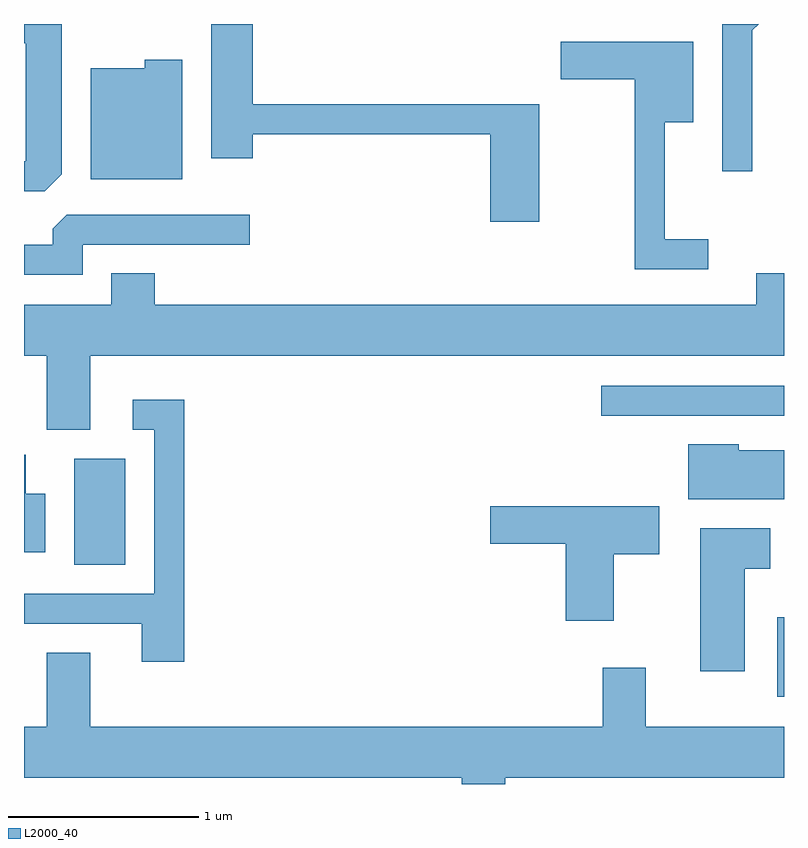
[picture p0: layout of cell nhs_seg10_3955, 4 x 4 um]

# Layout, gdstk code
import gdstk
lib = gdstk.Library(unit=1e-6, precision=1e-09)
def R(c, l, rs):  # rectangles x0, y0, x1, y1
    for r in rs: c.add(gdstk.rectangle(r[:2], r[2:], *l))
def P(c, l, *ps):  # polygons
    for p in ps: c.add(gdstk.Polygon(p, *l))
L2000_40 = (2000, 40)

nhs_seg10_3955 = lib.new_cell('nhs_seg10_3955')
R(nhs_seg10_3955, L2000_40, [(305.576,2140.981,305.611,2141.399), (301.876,2141.676,302.144,2142.234), (304.648,2142.461,305.611,2142.619)])
P(nhs_seg10_3955, L2000_40, [(304.324,2144.099),(302.814,2144.099),(302.814,2144.522),(302.596,2144.522),(302.596,2143.816),(302.814,2143.816),(302.814,2143.941),(304.066,2143.941),(304.066,2143.481),(304.324,2143.481)],
  [(305.444,2144.489),(305.477,2144.522),(305.286,2144.522),(305.286,2143.748),(305.444,2143.748)],
  [(301.809,2143.732),(301.809,2144.522),(301.611,2144.522),(301.611,2144.421),(301.621,2144.421),(301.621,2143.799),(301.611,2143.799),(301.611,2143.641),(301.719,2143.641)],
  [(305.213,2143.389),(304.984,2143.389),(304.984,2144.006),(305.134,2144.006),(305.134,2144.429),(304.436,2144.429),(304.436,2144.231),(304.826,2144.231),(304.826,2143.231),(305.213,2143.231)],
  [(302.444,2144.334),(302.246,2144.334),(302.246,2144.289),(301.961,2144.289),(301.961,2143.706),(302.444,2143.706)],
  [(301.919,2143.361),(302.798,2143.361),(302.798,2143.519),(301.837,2143.519),(301.761,2143.444),(301.761,2143.359),(301.611,2143.359),(301.611,2143.201),(301.919,2143.201)],
  [(301.959,2142.776),(305.611,2142.776),(305.611,2143.209),(305.466,2143.209),(305.466,2143.044),(302.299,2143.044),(302.299,2143.209),(302.071,2143.209),(302.071,2143.044),(301.611,2143.044),(301.611,2142.776),(301.731,2142.776),(301.731,2142.386),(301.959,2142.386)],
  [(302.454,2142.544),(302.183,2142.544),(302.183,2142.386),(302.296,2142.386),(302.296,2141.524),(301.611,2141.524),(301.611,2141.366),(302.231,2141.366),(302.231,2141.166),(302.454,2141.166)],
  [(305.611,2142.279),(305.374,2142.279),(305.374,2142.309),(305.106,2142.309),(305.106,2142.021),(305.611,2142.021)],
  [(301.724,2142.049),(301.619,2142.049),(301.619,2142.254),(301.611,2142.254),(301.611,2141.741),(301.724,2141.741)],
  [(304.714,2141.731),(304.954,2141.731),(304.954,2141.984),(304.066,2141.984),(304.066,2141.786),(304.461,2141.786),(304.461,2141.381),(304.714,2141.381)],
  [(305.404,2141.656),(305.539,2141.656),(305.539,2141.869),(305.171,2141.869),(305.171,2141.116),(305.404,2141.116)],
  [(304.656,2141.134),(304.656,2140.824),(301.959,2140.824),(301.959,2141.214),(301.731,2141.214),(301.731,2140.824),(301.611,2140.824),(301.611,2140.556),(303.916,2140.556),(303.916,2140.522),(304.144,2140.522),(304.144,2140.556),(305.611,2140.556),(305.611,2140.824),(304.884,2140.824),(304.884,2141.134)])

lib.write_gds('nhs_seg10_3955.gds')
